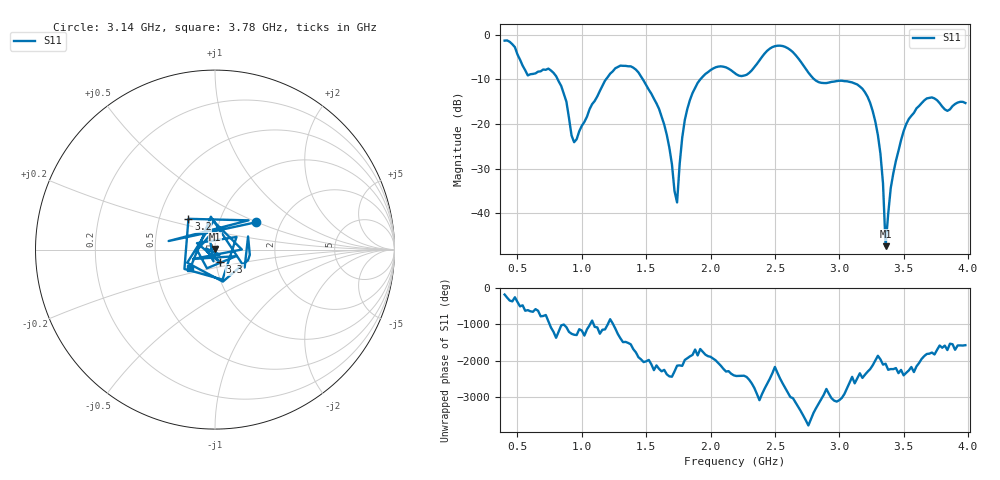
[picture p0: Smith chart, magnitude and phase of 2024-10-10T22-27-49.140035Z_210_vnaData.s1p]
! Created with skrf (http://scikit-rf.org).
# Hz S RI R 50.0
!freq ReS11 ImS11
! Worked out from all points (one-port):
!   180 points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, 400 MHz to 3.98 GHz, reference 50 ohm
!   lowest |S11| = -47.4 dB at 3.36 GHz (marker M1), VSWR 1.01, Z = 50.1 + j0.412 ohm
!   |S11| at or under -10 dB: 812.3 MHz to 1.188 GHz (375.6 MHz wide, 37.6 % of centre); 1.474 GHz to 1.921 GHz (446.9 MHz wide, 26.3 % of centre); 2.806 GHz to end of sweep
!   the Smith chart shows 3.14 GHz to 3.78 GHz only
!   S11 on the Smith chart (normalised r, x): 3.14 GHz: 1.50, +0.50; 3.2 GHz: 0.70, +0.25; 3.3 GHz: 1.05, -0.15; 3.78 GHz: 0.74, -0.16
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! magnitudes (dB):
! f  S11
! 400 MHz  -1.3
! 580 MHz  -9.1
! 740 MHz  -7.6
! 860 MHz  -13.2
! 940 MHz  -24.1
! 1.3 GHz  -6.9
! 1.44 GHz  -8.5
! 1.6 GHz  -16.6
! 1.68 GHz  -25.3
! 1.74 GHz  -37.6
! 1.76 GHz  -29.0
! 1.8 GHz  -19.1
! 1.9 GHz  -10.8
! 2.06 GHz  -7.2
! 2.2 GHz  -8.9
! 2.48 GHz  -2.8
! 2.64 GHz  -3.9
! 2.84 GHz  -10.6
! 3.1 GHz  -10.7
! 3.14 GHz  -11.2
! 3.2 GHz  -12.9
! 3.3 GHz  -22.5
! 3.34 GHz  -33.3
! 3.36 GHz  -47.4
! 3.42 GHz  -31.0
! 3.54 GHz  -18.9
! 3.78 GHz  -15.3
! 3.98 GHz  -15.3
